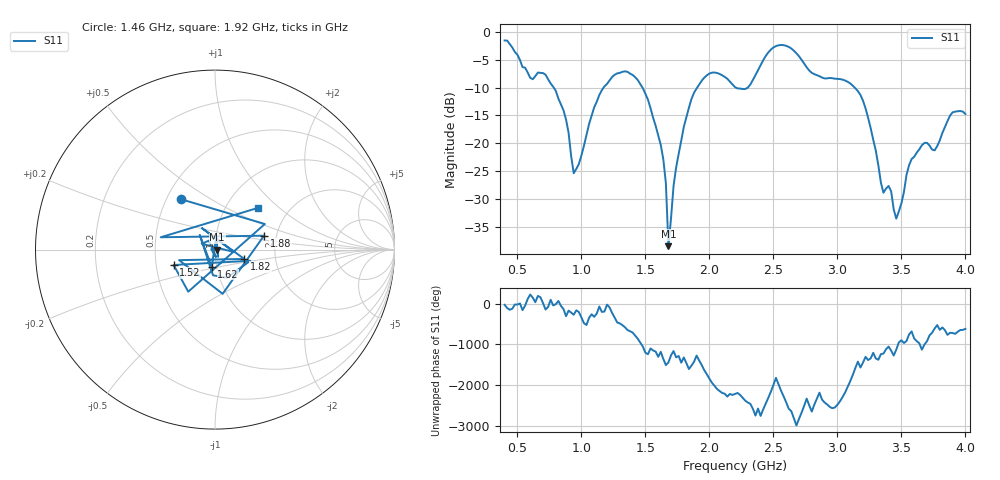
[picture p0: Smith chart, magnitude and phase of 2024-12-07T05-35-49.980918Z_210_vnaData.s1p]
!Created with skrf (http://scikit-rf.org).
# Hz S RI R 50.0
!freq ReS11 ImS11
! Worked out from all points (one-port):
!   181 points, 400 MHz to 4 GHz, reference 50 ohm
!   lowest |S11| = -38.5 dB at 1.68 GHz (marker M1), VSWR 1.02, Z = 51.2 + j0.0129 ohm
!   |S11| at or under -10 dB: 783.3 MHz to 1.174 GHz (390.5 MHz wide, 39.9 % of centre); 1.477 GHz to 1.905 GHz (427.7 MHz wide, 25.3 % of centre); 3.135 GHz to end of sweep (the widest 3 of 4)
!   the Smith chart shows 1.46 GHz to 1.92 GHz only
!   S11 on the Smith chart (normalised r, x): 1.46 GHz: 0.59, +0.38; 1.52 GHz: 0.62, -0.11; 1.62 GHz: 0.95, -0.18; 1.82 GHz: 1.38, -0.15; 1.88 GHz: 1.72, +0.29; 1.92 GHz: 1.41, +0.74
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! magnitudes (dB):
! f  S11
! 400 MHz  -1.6
! 600 MHz  -8.3
! 720 MHz  -7.7
! 860 MHz  -14.1
! 940 MHz  -25.4
! 1.14 GHz  -11.3
! 1.3 GHz  -7.4
! 1.46 GHz  -9.4
! 1.52 GHz  -12.2
! 1.62 GHz  -20.3
! 1.66 GHz  -27.2
! 1.68 GHz  -38.5
! 1.72 GHz  -27.6
! 1.76 GHz  -21.9
! 1.82 GHz  -15.3
! 1.88 GHz  -10.9
! 1.92 GHz  -9.5
! 2.2 GHz  -9.9
! 2.3 GHz  -10.0
! 2.5 GHz  -2.8
! 2.66 GHz  -3.4
! 3.1 GHz  -9.2
! 3.2 GHz  -12.4
! 3.36 GHz  -28.9
! 3.4 GHz  -27.7
! 3.46 GHz  -33.5
! 3.56 GHz  -23.9
! 4 GHz  -14.7
